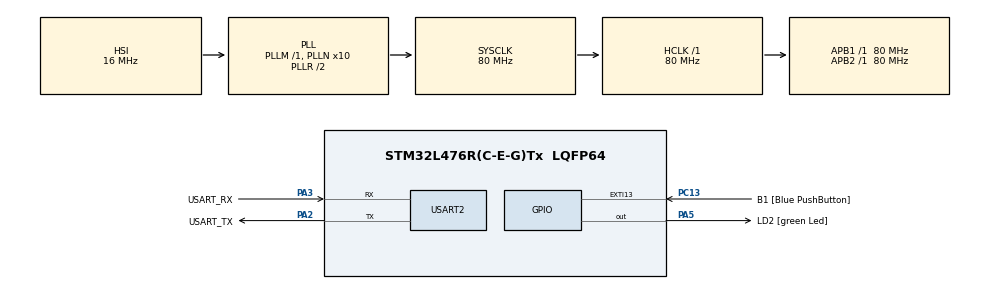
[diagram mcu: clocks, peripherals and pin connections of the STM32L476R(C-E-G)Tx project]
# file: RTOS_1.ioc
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FREERTOS.Tasks01=Task1,24,128,StartTask1,Default,NULL,Dynamic,NULL,NULL;Task2,24,128,StartTask2,Default,NULL,Dynamic,NULL,NULL
Mcu.Family=STM32L4
Mcu.Name=STM32L476R(C-E-G)Tx
Mcu.Package=LQFP64
NVIC.PriorityGroup=NVIC_PRIORITYGROUP_4
NVIC.TIM1_UP_TIM16_IRQn=true\:15\:0\:false\:false\:true\:false\:false\:true\:true
NVIC.TimeBase=TIM1_UP_TIM16_IRQn
NVIC.TimeBaseIP=TIM1
PA13\ (JTMS-SWDIO).GPIO_Label=TMS
PA13\ (JTMS-SWDIO).Mode=Serial_Wire
PA13\ (JTMS-SWDIO).Signal=SYS_JTMS-SWDIO
PA14\ (JTCK-SWCLK).GPIO_Label=TCK
PA14\ (JTCK-SWCLK).Mode=Serial_Wire
PA14\ (JTCK-SWCLK).Signal=SYS_JTCK-SWCLK
PA2.GPIO_Label=USART_TX
PA2.GPIO_Mode=GPIO_MODE_AF_PP
PA2.GPIO_PuPd=GPIO_NOPULL
PA2.GPIO_Speed=GPIO_SPEED_FREQ_VERY_HIGH
PA2.Mode=Asynchronous
PA2.Signal=USART2_TX
PA3.GPIO_Label=USART_RX
PA3.GPIO_Mode=GPIO_MODE_AF_PP
PA3.GPIO_PuPd=GPIO_NOPULL
PA3.GPIO_Speed=GPIO_SPEED_FREQ_VERY_HIGH
PA3.Mode=Asynchronous
PA3.Signal=USART2_RX
PA5.GPIO_Label=LD2 [green Led]
PA5.GPIO_ModeDefaultOutputPP=GPIO_MODE_OUTPUT_PP
PA5.GPIO_PuPd=GPIO_NOPULL
PA5.GPIO_Speed=GPIO_SPEED_FREQ_LOW
PA5.Signal=GPIO_Output
PB3\ (JTDO-TRACESWO).GPIO_Label=SWO
PB3\ (JTDO-TRACESWO).Signal=SYS_JTDO-SWO
PC13.GPIO_Label=B1 [Blue PushButton]
PC13.GPIO_ModeDefaultEXTI=GPIO_MODE_IT_FALLING
PC13.GPIO_PuPd=GPIO_NOPULL
PC13.Signal=GPXTI13
PC14-OSC32_IN\ (PC14).Mode=LSE-External-Oscillator
PC14-OSC32_IN\ (PC14).Signal=RCC_OSC32_IN
PC15-OSC32_OUT\ (PC15).Mode=LSE-External-Oscillator
PC15-OSC32_OUT\ (PC15).Signal=RCC_OSC32_OUT
PH0-OSC_IN\ (PH0).Signal=RCC_OSC_IN
PH1-OSC_OUT\ (PH1).Signal=RCC_OSC_OUT
ProjectManager.HeapSize=0x200
ProjectManager.StackSize=0x400
ProjectManager.TargetToolchain=STM32CubeIDE
RCC.ADCFreq_Value=64000000
RCC.AHBFreq_Value=80000000
RCC.APB1Freq_Value=80000000
RCC.APB1TimFreq_Value=80000000
RCC.APB2Freq_Value=80000000
RCC.APB2TimFreq_Value=80000000
RCC.CortexFreq_Value=80000000
RCC.HCLKFreq_Value=80000000
RCC.HSE_VALUE=8000000
RCC.HSI_VALUE=16000000
RCC.MSI_VALUE=4000000
RCC.PLLN=10
RCC.PLLSourceVirtual=RCC_PLLSOURCE_HSI
RCC.PREFETCH_ENABLE=1
RCC.SYSCLKFreq_VALUE=80000000
RCC.SYSCLKSource=RCC_SYSCLKSOURCE_PLLCLK
RCC.USBFreq_Value=64000000
RCC.VCOOutputFreq_Value=160000000
USART2.VirtualMode-Asynchronous=VM_ASYNC
VP_FREERTOS_VS_CMSIS_V2.Mode=CMSIS_V2
VP_SYS_VS_tim1.Mode=TIM1
board=NUCLEO-L476RG

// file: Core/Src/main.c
/* USER CODE BEGIN Header */
/**
 ******************************************************************************
 * @file           : main.c
 * @brief          : Main program body
 ******************************************************************************
 * @attention
 *
 * Copyright (c) 2025 STMicroelectronics.
 * All rights reserved.
 *
 * This software is licensed under terms that can be found in the LICENSE file
 * in the root directory of this software component.
 * If no LICENSE file comes with this software, it is provided AS-IS.
 *
 ******************************************************************************
 */
/* USER CODE END Header */
#include "main.h"
#include "cmsis_os.h"

/* USER CODE BEGIN Includes */
#include "stdio.h"
/* USER CODE END Includes */

UART_HandleTypeDef huart2;

/* Definitions for Task1 */
osThreadId_t Task1Handle;
const osThreadAttr_t Task1_attributes = {
		.name = "Task1",
		.stack_size = 128 * 4,
		.priority = (osPriority_t) osPriorityNormal,
};
/* Definitions for Task2 */
osThreadId_t Task2Handle;
const osThreadAttr_t Task2_attributes = {
		.name = "Task2",
		.stack_size = 128 * 4,
		.priority = (osPriority_t) osPriorityAboveNormal,
};
/* USER CODE BEGIN PV */
/* Definitions for Task3 */
osThreadId_t Task3Handle;
const osThreadAttr_t Task3_attributes = {
		.name = "Task3",
		.stack_size = 128 * 4,
		.priority = (osPriority_t) osPriorityBelowNormal,
};
/* USER CODE END PV */

void SystemClock_Config(void);
static void MX_GPIO_Init(void);
static void MX_USART2_UART_Init(void);
void StartTask1(void *argument);
void StartTask2(void *argument);

/* USER CODE BEGIN PFP */
void StartTask3(void *argument);
/* USER CODE END PFP */

/* USER CODE BEGIN 0 */
void send_task1(void)
{
	uint8_t data[] = "Hello from task 1\n\r";
	HAL_UART_Transmit(&huart2, data, sizeof(data), 500);
}

void send_task2(void)
{
	uint8_t data[] = "Hello from task 2\n\r";
	HAL_UART_Transmit(&huart2, data, sizeof(data), 500);
}

void send_task3(void)
{
	uint8_t data[] = "Hello from task 3\n\r";
	HAL_UART_Transmit(&huart2, data, sizeof(data), 500);
}

int _write(int file, char *ptr, int len)
{
	int i=0;
	for (i=0; i<len; i++)
		ITM_SendChar(*ptr++);
	return len;
}
/* USER CODE END 0 */

int main(void)
{

	/* MCU Configuration--------------------------------------------------------*/

	/* Reset of all peripherals, Initializes the Flash interface and the Systick. */
	HAL_Init();

	/* Configure the system clock */
	SystemClock_Config();

	/* Initialize all configured peripherals */
	MX_GPIO_Init();
	MX_USART2_UART_Init();

	/* Init scheduler */
	osKernelInitialize();

	/* Create the thread(s) */
	/* creation of Task1 */
	Task1Handle = osThreadNew(StartTask1, NULL, &Task1_attributes);

	/* creation of Task2 */
	Task2Handle = osThreadNew(StartTask2, NULL, &Task2_attributes);

	/* USER CODE BEGIN RTOS_THREADS */
	/* add threads, ... */
	/* creation of Task2 */
	Task3Handle = osThreadNew(StartTask3, NULL, &Task3_attributes);
	/* USER CODE END RTOS_THREADS */

	/* Start scheduler */
	osKernelStart();

	/* We should never get here as control is now taken by the scheduler */

	/* Infinite loop */
	while (1)
	{

	}
}

void SystemClock_Config(void)
{
	RCC_OscInitTypeDef RCC_OscInitStruct = {0};
	RCC_ClkInitTypeDef RCC_ClkInitStruct = {0};

	/** Configure the main internal regulator output voltage
	 */
	if (HAL_PWREx_ControlVoltageScaling(PWR_REGULATOR_VOLTAGE_SCALE1) != HAL_OK)
	{
		Error_Handler();
	}

	/** Initializes the RCC Oscillators according to the specified parameters
	 * in the RCC_OscInitTypeDef structure.
	 */
	RCC_OscInitStruct.OscillatorType = RCC_OSCILLATORTYPE_HSI;
	RCC_OscInitStruct.HSIState = RCC_HSI_ON;
	RCC_OscInitStruct.HSICalibrationValue = RCC_HSICALIBRATION_DEFAULT;
	RCC_OscInitStruct.PLL.PLLState = RCC_PLL_ON;
	RCC_OscInitStruct.PLL.PLLSource = RCC_PLLSOURCE_HSI;
	RCC_OscInitStruct.PLL.PLLM = 1;
	RCC_OscInitStruct.PLL.PLLN = 10;
	RCC_OscInitStruct.PLL.PLLP = RCC_PLLP_DIV7;
	RCC_OscInitStruct.PLL.PLLQ = RCC_PLLQ_DIV2;
	RCC_OscInitStruct.PLL.PLLR = RCC_PLLR_DIV2;
	if (HAL_RCC_OscConfig(&RCC_OscInitStruct) != HAL_OK)
	{
		Error_Handler();
	}

	/** Initializes the CPU, AHB and APB buses clocks
	 */
	RCC_ClkInitStruct.ClockType = RCC_CLOCKTYPE_HCLK|RCC_CLOCKTYPE_SYSCLK
			|RCC_CLOCKTYPE_PCLK1|RCC_CLOCKTYPE_PCLK2;
	RCC_ClkInitStruct.SYSCLKSource = RCC_SYSCLKSOURCE_PLLCLK;
	RCC_ClkInitStruct.AHBCLKDivider = RCC_SYSCLK_DIV1;
	RCC_ClkInitStruct.APB1CLKDivider = RCC_HCLK_DIV1;
	RCC_ClkInitStruct.APB2CLKDivider = RCC_HCLK_DIV1;

	if (HAL_RCC_ClockConfig(&RCC_ClkInitStruct, FLASH_LATENCY_4) != HAL_OK)
	{
		Error_Handler();
	}
}

static void MX_USART2_UART_Init(void)
{

	huart2.Instance = USART2;
	huart2.Init.BaudRate = 115200;
	huart2.Init.WordLength = UART_WORDLENGTH_8B;
	huart2.Init.StopBits = UART_STOPBITS_1;
	huart2.Init.Parity = UART_PARITY_NONE;
	huart2.Init.Mode = UART_MODE_TX_RX;
	huart2.Init.HwFlowCtl = UART_HWCONTROL_NONE;
	huart2.Init.OverSampling = UART_OVERSAMPLING_16;
	huart2.Init.OneBitSampling = UART_ONE_BIT_SAMPLE_DISABLE;
	huart2.AdvancedInit.AdvFeatureInit = UART_ADVFEATURE_NO_INIT;
	if (HAL_UART_Init(&huart2) != HAL_OK)
	{
		Error_Handler();
	}

}

static void MX_GPIO_Init(void)
{
	GPIO_InitTypeDef GPIO_InitStruct = {0};

	/* GPIO Ports Clock Enable */
	__HAL_RCC_GPIOC_CLK_ENABLE();
	__HAL_RCC_GPIOH_CLK_ENABLE();
	__HAL_RCC_GPIOA_CLK_ENABLE();
	__HAL_RCC_GPIOB_CLK_ENABLE();

	/*Configure GPIO pin Output Level */
	HAL_GPIO_WritePin(LD2_GPIO_Port, LD2_Pin, GPIO_PIN_RESET);

	/*Configure GPIO pin : B1_Pin */
	GPIO_InitStruct.Pin = B1_Pin;
	GPIO_InitStruct.Mode = GPIO_MODE_IT_FALLING;
	GPIO_InitStruct.Pull = GPIO_NOPULL;
	HAL_GPIO_Init(B1_GPIO_Port, &GPIO_InitStruct);

	/*Configure GPIO pin : LD2_Pin */
	GPIO_InitStruct.Pin = LD2_Pin;
	GPIO_InitStruct.Mode = GPIO_MODE_OUTPUT_PP;
	GPIO_InitStruct.Pull = GPIO_NOPULL;
	GPIO_InitStruct.Speed = GPIO_SPEED_FREQ_LOW;
	HAL_GPIO_Init(LD2_GPIO_Port, &GPIO_InitStruct);

}

void StartTask1(void *argument)
{
	/* USER CODE BEGIN 5 */
	/* Infinite loop */
	for(;;)
	{
		send_task1();
		osDelay(1000);
	}
	/* USER CODE END 5 */
}

void StartTask2(void *argument)
{
	/* USER CODE BEGIN StartTask2 */
	/* Infinite loop */
	for(;;)
	{
		send_task2();
		osDelay(1000);
	}
	/* USER CODE END StartTask2 */
}

void StartTask3(void *argument)
{
	/* USER CODE BEGIN StartTask2 */
	/* Infinite loop */
	for(;;)
	{
		send_task3();
		osDelay(1000);
	}
	/* USER CODE END StartTask2 */
}
void HAL_TIM_PeriodElapsedCallback(TIM_HandleTypeDef *htim)
{
	if (htim->Instance == TIM1)
	{
		HAL_IncTick();
	}
}

void Error_Handler(void)
{
	__disable_irq();
	while (1)
	{
	}
}
